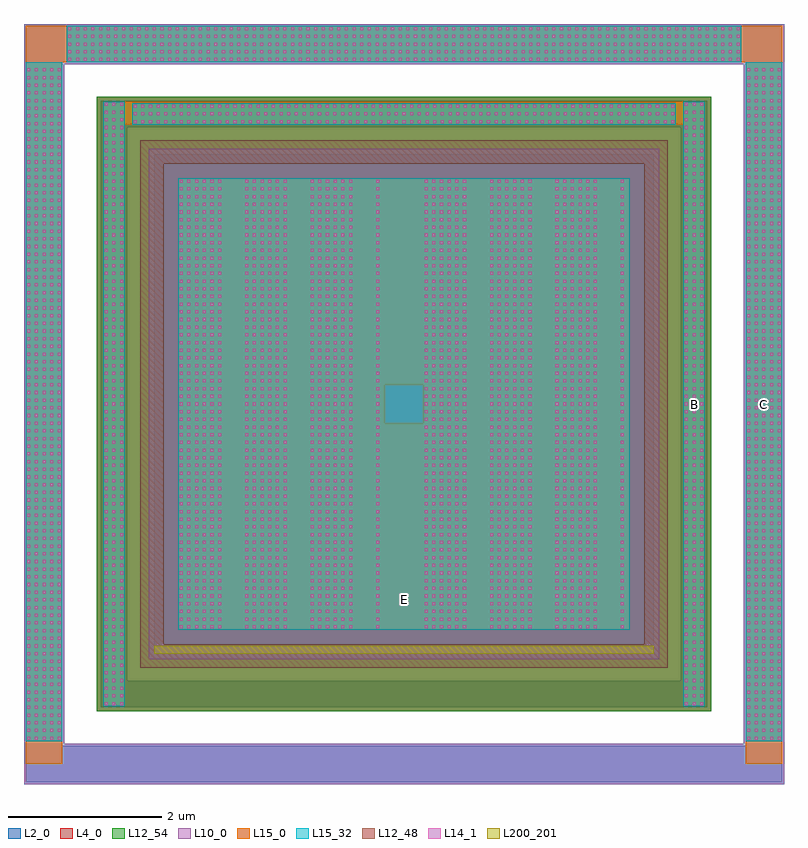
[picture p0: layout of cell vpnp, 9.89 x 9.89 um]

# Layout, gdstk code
import gdstk
lib = gdstk.Library(unit=1e-6, precision=1e-09)
def R(c, l, rs):  # rectangles x0, y0, x1, y1
    for r in rs: c.add(gdstk.rectangle(r[:2], r[2:], *l))
def A(c, l, x, y, w, h, nx, ny, dx, dy):  # array of equal rectangles
    R(c, l, [(x+i*dx, y+j*dy, x+i*dx+w, y+j*dy+h) for i in range(nx) for j in range(ny)])
L2_0 = (2, 0)
L4_0 = (4, 0)
L10_0 = (10, 0)
L12_48 = (12, 48)
L12_54 = (12, 54)
L14_1 = (14, 1)
L15_0 = (15, 0)
L15_32 = (15, 32)
L200_201 = (200, 201)

vpnp = lib.new_cell('vpnp')
R(vpnp, L2_0, [(-11.429,-3.459,-1.577,-2.979), (-11.429,-2.979,-10.949,5.913), (-2.057,-2.979,-1.577,5.913), (-10.449,-2.479,-2.557,-2.139), (-10.449,-2.139,-10.109,5.073), (-2.897,-2.139,-2.557,5.073), (-9.753,-1.783,-3.253,4.717), (-10.449,5.073,-2.557,5.413), (-11.429,5.913,-1.577,6.393)])
R(vpnp, L4_0, [(-10.505,-2.535,-2.501,5.469)])
R(vpnp, L10_0, [(-11.45,-3.48,-1.556,-2.958), (-11.45,-2.958,-10.928,5.892), (-2.078,-2.958,-1.556,5.892), (-9.823,-1.853,-3.183,4.787), (-11.45,5.892,-1.556,6.414)])
R(vpnp, L12_48, [(-9.934,-1.964,-3.072,-1.658), (-9.934,-1.658,-9.628,4.592), (-3.378,-1.658,-3.072,4.592), (-9.934,4.592,-3.072,4.898)])
R(vpnp, L12_54, [(-10.505,-2.535,-2.501,5.469)])
A(vpnp, L14_1, -11.409, -2.903, 0.04, 0.04, 5, 88, 0.1, 0.1)
A(vpnp, L14_1, -2.037, -2.903, 0.04, 0.04, 5, 88, 0.1, 0.1)
A(vpnp, L14_1, -10.399, -2.453, 0.04, 0.04, 3, 79, 0.1, 0.1)
A(vpnp, L14_1, -2.847, -2.453, 0.04, 0.04, 3, 79, 0.1, 0.1)
A(vpnp, L14_1, -9.423, -1.453, 0.04, 0.04, 6, 59, 0.1, 0.1)
A(vpnp, L14_1, -8.571, -1.453, 0.04, 0.04, 6, 59, 0.1, 0.1)
A(vpnp, L14_1, -7.719, -1.453, 0.04, 0.04, 6, 59, 0.1, 0.1)
A(vpnp, L14_1, -6.867, -1.453, 0.04, 0.04, 1, 59, 0, 0.1)
A(vpnp, L14_1, -6.235, -1.453, 0.04, 0.04, 6, 59, 0.1, 0.1)
A(vpnp, L14_1, -5.383, -1.453, 0.04, 0.04, 6, 59, 0.1, 0.1)
A(vpnp, L14_1, -4.531, -1.453, 0.04, 0.04, 6, 59, 0.1, 0.1)
A(vpnp, L14_1, -3.679, -1.453, 0.04, 0.04, 1, 59, 0, 0.1)
A(vpnp, L14_1, -10.023, 5.123, 0.04, 0.04, 71, 3, 0.1, 0.1)
A(vpnp, L14_1, -10.873, 5.933, 0.04, 0.04, 88, 5, 0.1, 0.1)
R(vpnp, L15_0, [(-11.427,-3.219,-10.951,6.391), (-2.055,-3.219,-1.579,6.391), (-10.417,-2.471,-10.141,5.405), (-2.865,-2.471,-2.589,5.405), (-9.441,-1.471,-3.565,1.217), (-9.441,1.217,-6.753,1.717), (-6.253,1.217,-3.565,1.717), (-9.441,1.717,-3.565,4.405), (-10.141,5.105,-2.865,5.405), (-10.951,5.915,-2.055,6.391)])
R(vpnp, L15_32, [(-11.427,-2.921,-10.951,5.915), (-2.055,-2.921,-1.579,5.915), (-10.417,-2.471,-10.141,5.405), (-2.865,-2.471,-2.589,5.405), (-9.441,-1.471,-3.565,4.405), (-10.041,5.105,-2.965,5.381), (-10.891,5.915,-2.115,6.391)])
R(vpnp, L200_201, [(-9.753,-1.783,-3.253,-1.683)])
vpnp.add(gdstk.Label('E', (-6.503,-1.083), layer=15, texttype=20))
vpnp.add(gdstk.Label('B', (-2.727,1.467), layer=15, texttype=20))
vpnp.add(gdstk.Label('C', (-1.817,1.467), layer=15, texttype=20))

lib.write_gds('vpnp.gds')
